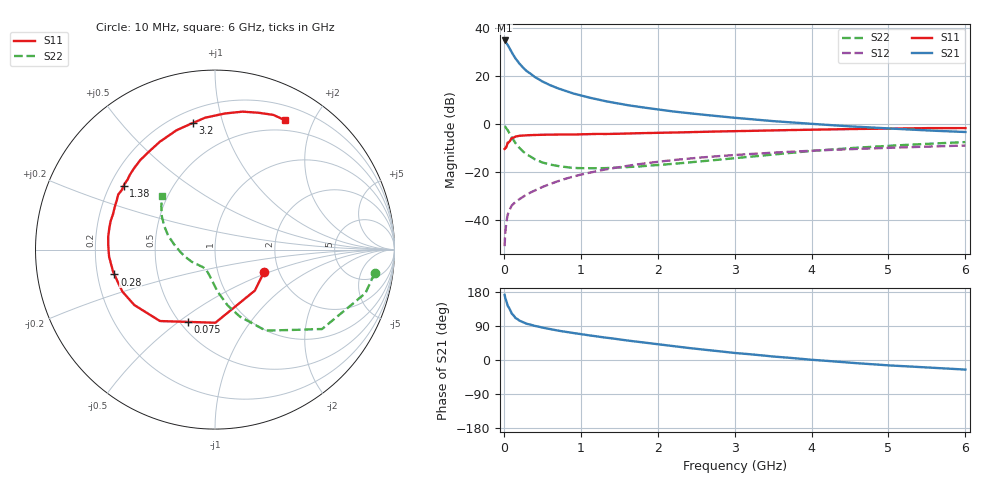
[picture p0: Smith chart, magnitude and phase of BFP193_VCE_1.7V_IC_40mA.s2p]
! Infineon Technologies  Discrete & RF Semiconductors
! BFP193
! VCE = 1.7 V,  IC =  40 mA
! Common Emitter S-Parameters:  Jan 2016
# GHz  S  MA  R  50
!  f  S11  S21  S12  S22
! GHz  MAG  ANG  MAG  ANG  MAG  ANG  MAG  ANG
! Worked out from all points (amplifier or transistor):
!   210 points, 10 MHz to 6 GHz, reference 50 ohm
!   highest |S21| = 34.9 dB at 10 MHz (marker M1)
!   |S21| within 3 dB of that: start of sweep to 69.27 MHz
!   unconditionally stable (mu >= 1): 501.4 MHz to 3.933 GHz
!   at 185 MHz: K = 0.68, MSG = 28.9 dB, |S12| = -31.8 dB
!   at 1.52 GHz: K = 1.08, MAG = 11.4 dB, |S12| = -17.9 dB
!   at 6 GHz: K = 0.96, MSG = 2.8 dB, |S12| = -9.0 dB
!   S11 on the Smith chart (normalised r, x): 10 MHz: 1.67, -0.46; 75 MHz: 0.55, -0.54; 280 MHz: 0.27, -0.11; 1.38 GHz: 0.26, +0.30; 3.2 GHz: 0.28, +0.80; 6 GHz: 0.37, +1.62
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0.01  0.3002 -24.4  55.47 171.8  0.0028 85.5  0.8997 -8.3
0.02  0.3185 -45.7  53.2 162.7  0.0056 77.3  0.8724 -16.2
0.05  0.4075 -89.7  44.85 143.2  0.0127 65.8  0.7426 -36.6
0.075  0.4306 -110.7  37.71 134.8  0.016 59.3  0.627 -45.5
0.1  0.5025 -127.6  31.74 122.9  0.0195 55.0  0.5327 -57.9
0.15  0.5455 -145.5  23.41 111.2  0.0234 54.0  0.3995 -69.5
0.2  0.5663 -155.6  18.42 104.1  0.0268 54.4  0.3193 -77.2
0.24  0.571 -161.5  15.61 100.2  0.0294 55.1  0.2752 -81.3
0.28  0.5774 -166.1  13.54 97.0  0.0324 57.0  0.2439 -85.1
0.3  0.5813 -168.2  12.63 95.4  0.0339 58.0  0.2306 -87.0
0.4  0.5915 -176.3  9.621 90.1  0.0405 60.4  0.1839 -93.8
0.5  0.5949 178.0  7.726 85.5  0.0481 61.9  0.1568 -99.2
0.6  0.5994 173.2  6.473 81.4  0.0556 63.1  0.1421 -103.7
0.7  0.6008 168.5  5.571 77.6  0.0634 63.3  0.1323 -108.0
1.02  0.6074 156.4  3.858 67.7  0.0889 62.3  0.119 -118.8
1.38  0.621 145.0  2.866 57.7  0.1165 59.0  0.1208 -129.3
2.02  0.6529 127.2  1.984 41.2  0.1633 51.2  0.1392 -148.0
3.1  0.7113 101.7  1.303 17.0  0.2303 37.2  0.199 -178.3
3.2  0.7165 99.8  1.262 15.2  0.2356 35.9  0.206 179.3
4.1  0.7642 84.3  0.981 -0.8  0.2808 25.0  0.2806 161.4
5.1  0.8028 71.2  0.791 -15.2  0.321 13.9  0.3564 146.4
6  0.8197 61.4  0.679 -25.3  0.3546 4.2  0.4179 134.8
